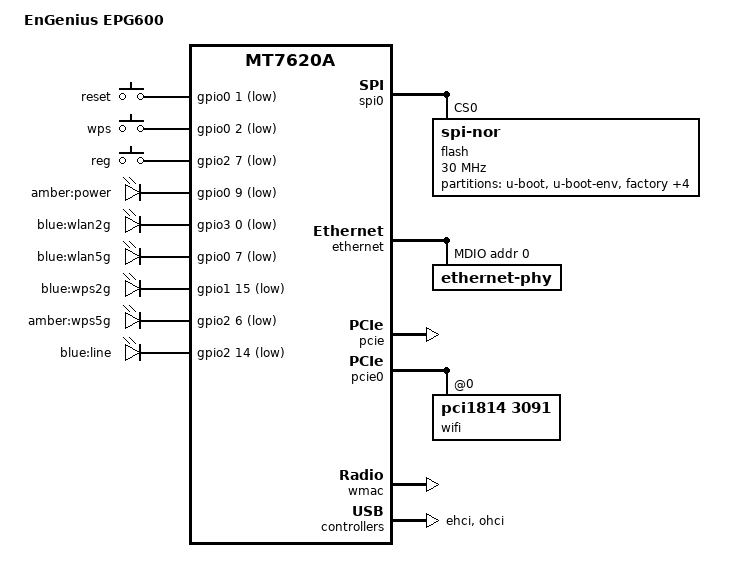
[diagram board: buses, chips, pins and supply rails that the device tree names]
// SPDX-License-Identifier: GPL-2.0-or-later OR MIT

#include "mt7620a.dtsi"

#include <dt-bindings/gpio/gpio.h>
#include <dt-bindings/input/input.h>

/ {
	compatible = "engenius,epg600", "ralink,mt7620a-soc";
	model = "EnGenius EPG600";

	aliases {
		led-boot = &led_power;
		led-failsafe = &led_power;
		led-running = &led_power;
		led-upgrade = &led_power;
	};

	chosen {
		bootargs = "console=ttyS0,115200";
	};

	keys {
		compatible = "gpio-keys";

		reset {
			linux,code = <KEY_RESTART>;
			gpios = <&gpio0 1 GPIO_ACTIVE_LOW>;
			debounce-interval = <60>;
		};

		wps {
			linux,code = <KEY_WPS_BUTTON>;
			gpios = <&gpio0 2 GPIO_ACTIVE_LOW>;
			debounce-interval = <60>;
		};

		reg {
			linux,code = <BTN_0>;
			gpios = <&gpio2 7 GPIO_ACTIVE_LOW>;
			debounce-interval = <60>;
		};
	};

	leds {
		compatible = "gpio-leds";

		led_power: power {
			label = "amber:power";
			gpios = <&gpio0 9 GPIO_ACTIVE_LOW>;
			default-state = "on";
		};

		wlan2g {
			label = "blue:wlan2g";
			gpios = <&gpio3 0 GPIO_ACTIVE_LOW>;
			linux,default-trigger = "phy1tpt";
		};

		wlan5g {
			label = "blue:wlan5g";
			gpios = <&gpio0 7 GPIO_ACTIVE_LOW>;
		};

		wps2g {
			label = "blue:wps2g";
			gpios = <&gpio1 15 GPIO_ACTIVE_LOW>;
		};

		wps5g {
			label = "amber:wps5g";
			gpios = <&gpio2 6 GPIO_ACTIVE_LOW>;
		};

		line {
			label = "blue:line";
			gpios = <&gpio2 14 GPIO_ACTIVE_LOW>;
		};
	};
};

&gpio1 {
	status = "okay";
};

&gpio2 {
	status = "okay";
};

&gpio3 {
	status = "okay";
};

&spi0 {
	status = "okay";

	flash@0 {
		compatible = "jedec,spi-nor";
		reg = <0>;
		spi-max-frequency = <30000000>;

		partitions {
			compatible = "fixed-partitions";
			#address-cells = <1>;
			#size-cells = <1>;

			partition@0 {
				label = "u-boot";
				reg = <0x0 0x30000>;
				read-only;
			};

			partition@30000 {
				label = "u-boot-env";
				reg = <0x30000 0x10000>;
			};

			factory: partition@40000 {
				label = "factory";
				reg = <0x40000 0x10000>;
				read-only;
			};

			rf: partition@50000 {
				label = "rf";
				reg = <0x50000 0x10000>;
				read-only;
			};

			partition@60000 {
				label = "firmware";
				reg = <0x60000 0xf40000>;
				compatible = "denx,uimage";
			};

			partition@fa0000 {
				label = "backup";
				reg = <0xfa0000 0x10000>;
				read-only;
			};

			partition@fb0000 {
				label = "storage";
				reg = <0xfb0000 0x50000>;
				read-only;
			};
		};
	};
};

&ethernet {
	pinctrl-names = "default";
	pinctrl-0 = <&mdio_pins &rgmii1_pins &rgmii2_pins>;

	nvmem-cells = <&macaddr_rf_4>;
	nvmem-cell-names = "mac-address";

	port@5 {
		status = "okay";

		phy-mode = "rgmii-txid";

		mediatek,fixed-link = <1000 1 1 1>;
	};

	mdio-bus {
		status = "okay";

		ethernet-phy@0 {
			reg = <0>;
			phy-mode = "rgmii";

			qca,ar8327-initvals = <
				0x04 0x07600000 /* PORT0 PAD MODE CTRL */
				0x08 0x01000000 /* PORT5 PAD MODE CTRL */
				0x0c 0x07600000 /* PORT6 PAD MODE CTRL */
				0x10 0x40000000 /* POWER-ON STRAPPING  */
				0x7c 0x0000007e /* PORT0_STATUS */
				0x94 0x0000007e /* PORT6_STATUS */
			>;
		};
	};
};

&gsw {
	mediatek,ephy-disable;
};

&pcie {
	status = "okay";
};

&pcie0 {
	wifi@0,1,0 {
		compatible = "pci1814,3091";
		reg = <0x0 1 0 0 0>;
		ralink,mtd-eeprom = <&factory 0x0>;
	};
};

&wmac {
	ralink,mtd-eeprom = <&rf 0x0>;
};

&ehci {
	status = "okay";
};

&ohci {
	status = "okay";
};

&state_default {
	default {
		groups = "ephy", "wled", "spi refclk", "i2c", "uartf", "nd_sd";
		function = "gpio";
	};
};

&rf {
	compatible = "nvmem-cells";
	#address-cells = <1>;
	#size-cells = <1>;

	macaddr_rf_4: macaddr@4 {
		reg = <0x4 0x6>;
	};
};
